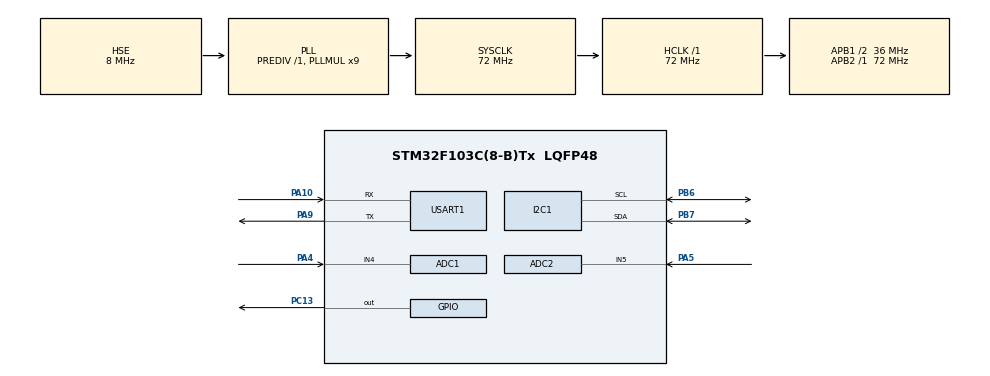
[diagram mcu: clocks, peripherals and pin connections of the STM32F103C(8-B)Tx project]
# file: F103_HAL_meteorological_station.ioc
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ADC1.Channel-1\#ChannelRegularConversion=ADC_CHANNEL_4
ADC1.NbrOfConversionFlag=1
ADC1.Rank-1\#ChannelRegularConversion=1
ADC1.SamplingTime-1\#ChannelRegularConversion=ADC_SAMPLETIME_1CYCLE_5
ADC1.master=1
ADC2.Channel-0\#ChannelRegularConversion=ADC_CHANNEL_5
ADC2.NbrOfConversionFlag=1
Mcu.Family=STM32F1
Mcu.Name=STM32F103C(8-B)Tx
Mcu.Package=LQFP48
NVIC.PriorityGroup=NVIC_PRIORITYGROUP_4
PA10.Mode=Asynchronous
PA10.Signal=USART1_RX
PA4.Signal=ADCx_IN4
PA5.Signal=ADCx_IN5
PA9.Mode=Asynchronous
PA9.Signal=USART1_TX
PB6.Mode=I2C
PB6.Signal=I2C1_SCL
PB7.Mode=I2C
PB7.Signal=I2C1_SDA
PC13-TAMPER-RTC.Signal=GPIO_Output
PC14-OSC32_IN.Mode=LSE-External-Clock-Source
PC14-OSC32_IN.Signal=RCC_OSC32_IN
PC15-OSC32_OUT.Mode=LSE-External-Clock-Source
PC15-OSC32_OUT.Signal=RCC_OSC32_OUT
PD0-OSC_IN.Mode=HSE-External-Oscillator
PD0-OSC_IN.Signal=RCC_OSC_IN
PD1-OSC_OUT.Mode=HSE-External-Oscillator
PD1-OSC_OUT.Signal=RCC_OSC_OUT
ProjectManager.HeapSize=0x200
ProjectManager.StackSize=0x400
ProjectManager.TargetToolchain=STM32CubeIDE
RCC.ADCPresc=RCC_ADCPCLK2_DIV8
RCC.AHBFreq_Value=72000000
RCC.APB1CLKDivider=RCC_HCLK_DIV2
RCC.APB1Freq_Value=36000000
RCC.APB1TimFreq_Value=72000000
RCC.APB2Freq_Value=72000000
RCC.APB2TimFreq_Value=72000000
RCC.HCLKFreq_Value=72000000
RCC.PLLMUL=RCC_PLL_MUL9
RCC.PLLSourceVirtual=RCC_PLLSOURCE_HSE
RCC.SYSCLKFreq_VALUE=72000000
RCC.SYSCLKSource=RCC_SYSCLKSOURCE_PLLCLK
RCC.USBFreq_Value=72000000
SH.ADCx_IN4.0=ADC1_IN4,IN4
SH.ADCx_IN5.0=ADC2_IN5,IN5
USART1.VirtualMode=VM_ASYNC
VP_SYS_VS_ND.Mode=No_Debug
board=custom

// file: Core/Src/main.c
/* USER CODE BEGIN Header */
/**
  ******************************************************************************
  * @file           : main.c
  * @brief          : Main program body
  ******************************************************************************
  * @attention
  *
  * <h2><center>&copy; Copyright (c) 2020 STMicroelectronics.
  * All rights reserved.</center></h2>
  *
  * This software component is licensed by ST under BSD 3-Clause license,
  * the "License"; You may not use this file except in compliance with the
  * License. You may obtain a copy of the License at:
  *                        opensource.org/licenses/BSD-3-Clause
  *
  ******************************************************************************
  */
/* USER CODE END Header */

#include "main.h"

/* USER CODE BEGIN Includes */
#include "I2Cdev.h"
#include <stdint.h>
#include <stdio.h>
#include <string.h>
#include "BMP180.h"
#include "display2004.h"
/* USER CODE END Includes */

ADC_HandleTypeDef hadc1;
ADC_HandleTypeDef hadc2;

I2C_HandleTypeDef hi2c1;

UART_HandleTypeDef huart1;

void SystemClock_Config(void);
static void MX_GPIO_Init(void);
static void MX_ADC1_Init(void);
static void MX_ADC2_Init(void);
static void MX_I2C1_Init(void);
static void MX_USART1_UART_Init(void);

int main(void)
{
  /* USER CODE BEGIN 1 */

	float t,p,a,temp,hum;
	char msg[100];                 // массив для хранения строки для дисплея
	uint16_t ADC_temp;
	uint16_t ADC_hum;
	int out_temp[21] ={1911, 1958,	2011, 2064, 2113, 2168, 2221, 2273, 2327, 2380, 2433, 2485, 2538, 2590, 2641, 2694, 2749, 2792, 2851, 2897, 2949};
	_Bool error;
	char out_hum[32];
  /* USER CODE END 1 */

  /* MCU Configuration--------------------------------------------------------*/

  /* Reset of all peripherals, Initializes the Flash interface and the Systick. */
  HAL_Init();

  /* USER CODE BEGIN Init */
  I2Cdev_init(&hi2c1);
  UARTdev_init(&huart1);
  /* USER CODE END Init */

  /* Configure the system clock */
  SystemClock_Config();

  /* Initialize all configured peripherals */
  MX_GPIO_Init();
  MX_ADC1_Init();
  MX_ADC2_Init();
  MX_I2C1_Init();
  MX_USART1_UART_Init();
  /* USER CODE BEGIN 2 */
  while(!BMP180_testConnection()) ;
  BMP180_initialize();
  LCD_Setup();
  char buf[128];
  /* USER CODE END 2 */

  /* Infinite loop */
  while (1)
  {

    /* USER CODE BEGIN 3 */
	  HAL_ADC_Start(&hadc1);                              // запуск АЦП
	  HAL_ADC_PollForConversion(&hadc1,100);              // ожидание вычисления
	  ADC_hum = HAL_ADC_GetValue(&hadc1);                 // запись результата в переменную
	  HAL_ADC_Stop(&hadc1);                               // остановка АЦП

	  hum = ADC_hum;
	  hum *= 0.027;

	  HAL_ADC_Start(&hadc2);                              // запуск АЦП 2
	  HAL_ADC_PollForConversion(&hadc2,100);              // ожидание вычисления
	  ADC_temp = HAL_ADC_GetValue(&hadc2);                // запись результата в переменную
	  HAL_ADC_Stop(&hadc1);                               // остановка АЦП

	  if (ADC_temp < out_temp[0] || ADC_temp > out_temp[20] ) error = 1;
	  else error = 0;

	  for (int i=0; i<21; i++)
	  {
		  if (ADC_temp <out_temp[i+1] && ADC_temp > out_temp[i] )
		  {
			  int x = ADC_temp - out_temp[i];
			  int xx = out_temp[i+1] - out_temp[i];
			  temp = x;
			  temp = temp/xx+i+10;
		  }
	  }

	  BMP180_setControl(BMP180_MODE_TEMPERATURE);
	  HAL_Delay(BMP180_getMeasureDelayMilliseconds(BMP180_MODE_TEMPERATURE));
	  float t = BMP180_getTemperatureC();

	  BMP180_setControl(BMP180_MODE_PRESSURE_3);
	  HAL_Delay(BMP180_getMeasureDelayMilliseconds(BMP180_MODE_PRESSURE_3));
	  float p = BMP180_getPressure();

	  float a = BMP180_getAltitude(p, 101325);

	  I2C_send(0b10000000,0);   // переход на 1 строку
	  snprintf(msg, sizeof(msg), "t = %2.1f", t);
	  LCD_SendString(msg);
	  I2C_send(0b11000000,0);   // переход на 2 строку
	  snprintf(msg, sizeof(msg), "t2 = %2.1f", temp);
	  LCD_SendString(msg);
	  I2C_send(0b10010100,0);   // переход на 3 строку
	  snprintf(msg, sizeof(msg), "p = %2.1f", p);
	  LCD_SendString(msg);
	  I2C_send(0b11010100,0);   // переход на 4 строку
	  snprintf(msg, sizeof(msg), "hum = %2.1f", hum);
	  LCD_SendString(msg);

  }
  /* USER CODE END 3 */
}

void SystemClock_Config(void)
{
  RCC_OscInitTypeDef RCC_OscInitStruct = {0};
  RCC_ClkInitTypeDef RCC_ClkInitStruct = {0};
  RCC_PeriphCLKInitTypeDef PeriphClkInit = {0};

  /** Initializes the CPU, AHB and APB busses clocks
  */
  RCC_OscInitStruct.OscillatorType = RCC_OSCILLATORTYPE_HSE;
  RCC_OscInitStruct.HSEState = RCC_HSE_ON;
  RCC_OscInitStruct.HSEPredivValue = RCC_HSE_PREDIV_DIV1;
  RCC_OscInitStruct.HSIState = RCC_HSI_ON;
  RCC_OscInitStruct.PLL.PLLState = RCC_PLL_ON;
  RCC_OscInitStruct.PLL.PLLSource = RCC_PLLSOURCE_HSE;
  RCC_OscInitStruct.PLL.PLLMUL = RCC_PLL_MUL9;
  if (HAL_RCC_OscConfig(&RCC_OscInitStruct) != HAL_OK)
  {
    Error_Handler();
  }
  /** Initializes the CPU, AHB and APB busses clocks
  */
  RCC_ClkInitStruct.ClockType = RCC_CLOCKTYPE_HCLK|RCC_CLOCKTYPE_SYSCLK
                              |RCC_CLOCKTYPE_PCLK1|RCC_CLOCKTYPE_PCLK2;
  RCC_ClkInitStruct.SYSCLKSource = RCC_SYSCLKSOURCE_PLLCLK;
  RCC_ClkInitStruct.AHBCLKDivider = RCC_SYSCLK_DIV1;
  RCC_ClkInitStruct.APB1CLKDivider = RCC_HCLK_DIV2;
  RCC_ClkInitStruct.APB2CLKDivider = RCC_HCLK_DIV1;

  if (HAL_RCC_ClockConfig(&RCC_ClkInitStruct, FLASH_LATENCY_2) != HAL_OK)
  {
    Error_Handler();
  }
  PeriphClkInit.PeriphClockSelection = RCC_PERIPHCLK_ADC;
  PeriphClkInit.AdcClockSelection = RCC_ADCPCLK2_DIV8;
  if (HAL_RCCEx_PeriphCLKConfig(&PeriphClkInit) != HAL_OK)
  {
    Error_Handler();
  }
}

static void MX_ADC1_Init(void)
{

  ADC_ChannelConfTypeDef sConfig = {0};

  /** Common config
  */
  hadc1.Instance = ADC1;
  hadc1.Init.ScanConvMode = ADC_SCAN_DISABLE;
  hadc1.Init.ContinuousConvMode = DISABLE;
  hadc1.Init.DiscontinuousConvMode = DISABLE;
  hadc1.Init.ExternalTrigConv = ADC_SOFTWARE_START;
  hadc1.Init.DataAlign = ADC_DATAALIGN_RIGHT;
  hadc1.Init.NbrOfConversion = 1;
  if (HAL_ADC_Init(&hadc1) != HAL_OK)
  {
    Error_Handler();
  }
  /** Configure Regular Channel
  */
  sConfig.Channel = ADC_CHANNEL_4;
  sConfig.Rank = ADC_REGULAR_RANK_1;
  sConfig.SamplingTime = ADC_SAMPLETIME_1CYCLE_5;
  if (HAL_ADC_ConfigChannel(&hadc1, &sConfig) != HAL_OK)
  {
    Error_Handler();
  }

}

static void MX_ADC2_Init(void)
{

  ADC_ChannelConfTypeDef sConfig = {0};

  /** Common config
  */
  hadc2.Instance = ADC2;
  hadc2.Init.ScanConvMode = ADC_SCAN_DISABLE;
  hadc2.Init.ContinuousConvMode = DISABLE;
  hadc2.Init.DiscontinuousConvMode = DISABLE;
  hadc2.Init.ExternalTrigConv = ADC_SOFTWARE_START;
  hadc2.Init.DataAlign = ADC_DATAALIGN_RIGHT;
  hadc2.Init.NbrOfConversion = 1;
  if (HAL_ADC_Init(&hadc2) != HAL_OK)
  {
    Error_Handler();
  }
  /** Configure Regular Channel
  */
  sConfig.Channel = ADC_CHANNEL_5;
  sConfig.Rank = ADC_REGULAR_RANK_1;
  sConfig.SamplingTime = ADC_SAMPLETIME_1CYCLE_5;
  if (HAL_ADC_ConfigChannel(&hadc2, &sConfig) != HAL_OK)
  {
    Error_Handler();
  }

}

static void MX_I2C1_Init(void)
{

  hi2c1.Instance = I2C1;
  hi2c1.Init.ClockSpeed = 100000;
  hi2c1.Init.DutyCycle = I2C_DUTYCYCLE_2;
  hi2c1.Init.OwnAddress1 = 0;
  hi2c1.Init.AddressingMode = I2C_ADDRESSINGMODE_7BIT;
  hi2c1.Init.DualAddressMode = I2C_DUALADDRESS_DISABLE;
  hi2c1.Init.OwnAddress2 = 0;
  hi2c1.Init.GeneralCallMode = I2C_GENERALCALL_DISABLE;
  hi2c1.Init.NoStretchMode = I2C_NOSTRETCH_DISABLE;
  if (HAL_I2C_Init(&hi2c1) != HAL_OK)
  {
    Error_Handler();
  }

}

static void MX_USART1_UART_Init(void)
{

  huart1.Instance = USART1;
  huart1.Init.BaudRate = 115200;
  huart1.Init.WordLength = UART_WORDLENGTH_8B;
  huart1.Init.StopBits = UART_STOPBITS_1;
  huart1.Init.Parity = UART_PARITY_NONE;
  huart1.Init.Mode = UART_MODE_TX_RX;
  huart1.Init.HwFlowCtl = UART_HWCONTROL_NONE;
  huart1.Init.OverSampling = UART_OVERSAMPLING_16;
  if (HAL_UART_Init(&huart1) != HAL_OK)
  {
    Error_Handler();
  }

}

static void MX_GPIO_Init(void)
{
  GPIO_InitTypeDef GPIO_InitStruct = {0};

  /* GPIO Ports Clock Enable */
  __HAL_RCC_GPIOC_CLK_ENABLE();
  __HAL_RCC_GPIOD_CLK_ENABLE();
  __HAL_RCC_GPIOA_CLK_ENABLE();
  __HAL_RCC_GPIOB_CLK_ENABLE();

  /*Configure GPIO pin Output Level */
  HAL_GPIO_WritePin(GPIOC, GPIO_PIN_13, GPIO_PIN_RESET);

  /*Configure GPIO pin : PC13 */
  GPIO_InitStruct.Pin = GPIO_PIN_13;
  GPIO_InitStruct.Mode = GPIO_MODE_OUTPUT_PP;
  GPIO_InitStruct.Pull = GPIO_NOPULL;
  GPIO_InitStruct.Speed = GPIO_SPEED_FREQ_LOW;
  HAL_GPIO_Init(GPIOC, &GPIO_InitStruct);

}

void Error_Handler(void)
{
}

/************************ (C) COPYRIGHT STMicroelectronics *****END OF FILE****/
